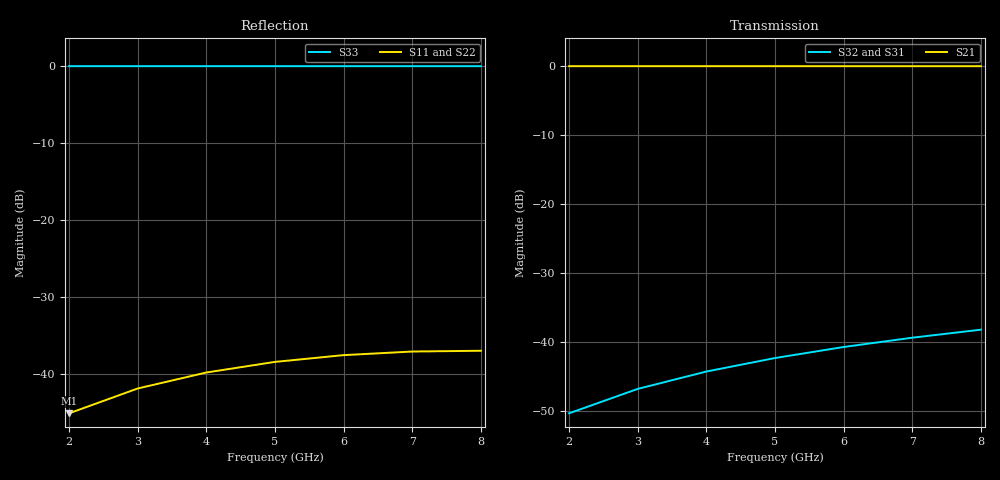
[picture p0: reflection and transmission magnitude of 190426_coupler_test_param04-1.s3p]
! Sonnet Data File
! From: emgraph Version : 16.56
! From Project: 190426_coupler_test
! Data is De-embedded
! Data File Written: 05/06/2019 15:59:44
!< HDATE 04/25/2019 10:48:44
!< MDATE 04/25/2019 10:59:35
!< PARAMS
!< tandelta = 0.0
!< t_aSi = 0.25
!< W = 10.0
!< Lcoupler = 300.0
!< END PARAMS
# GHZ S MA R 50.0 !  non standard terminations in data
! TERM 50.00000 0.000000 50.00000 0.000000 63.84000 0.000000
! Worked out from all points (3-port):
!   7 points, 2 GHz to 8 GHz, reference 50 ohm
!   strongest paths, dB at 2 GHz, 3 GHz, 5 GHz, 7 GHz, 8 GHz:
!     S21: 0.0, 0.0, 0.0, 0.0, 0.0
!     S32: -50.3, -46.8, -42.3, -39.4, -38.2
!     S31: -50.3, -46.8, -42.4, -39.5, -38.3
!   lowest |S11| = -45.1 dB at 2 GHz (marker M1), VSWR 1.01, Z = 50.2 + j0.511 ohm
!   |S11| at or under -10 dB: start of sweep to end of sweep
2  0.005562 66.1  1 -21.6  0.003042 65.3
   1 -21.6  0.005559 70.7  0.003047 87.1
   0.003042 65.3  0.003047 87.1  1 -6.3
3  0.008063 54.1  1 -32.5  0.004561 53.0
   1 -32.5  0.008053 61.1  0.004579 85.6
   0.004561 53.0  0.004579 85.6  1 -9.4
4  0.01024 42.1  0.9999 -43.3  0.00608 40.6
   0.9999 -43.3  0.01022 51.5  0.006119 84.0
   0.00608 40.6  0.006119 84.0  1 -12.6
5  0.012 30.0  0.9999 -54.1  0.007597 28.3
   0.9999 -54.1  0.01196 42.0  0.007665 82.4
   0.007597 28.3  0.007665 82.4  0.9999 -15.7
6  0.01328 17.8  0.9999 -64.9  0.009112 15.9
   0.9999 -64.9  0.01321 32.5  0.009214 80.7
   0.009112 15.9  0.009214 80.7  0.9999 -18.9
7  0.01401 5.5  0.9998 -75.7  0.01062 3.6
   0.9998 -75.7  0.01391 23.2  0.01076 79.0
   0.01062 3.6  0.01076 79.0  0.9999 -22.0
8  0.01418 -7.1  0.9998 -86.6  0.01213 -8.8
   0.9998 -86.6  0.01403 14.1  0.0123 77.3
   0.01213 -8.8  0.0123 77.3  0.9999 -25.1
